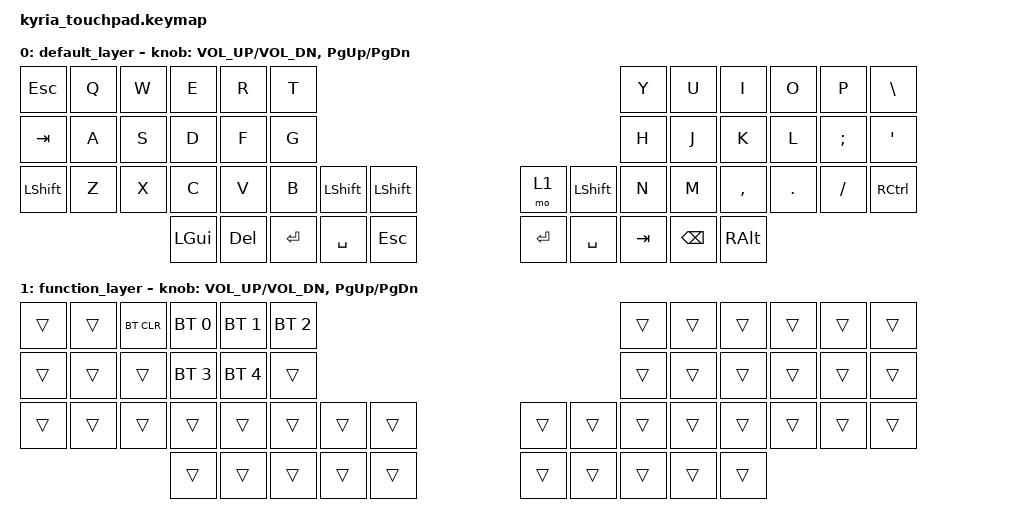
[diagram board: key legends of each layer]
/*
 * Copyright (c) 2025 ZMK Contributors
 * SPDX-License-Identifier: MIT
 */

#include <behaviors.dtsi>
#include <dt-bindings/zmk/bt.h>
#include <dt-bindings/zmk/keys.h>
#include <dt-bindings/zmk/mouse.h>

/ {
    keymap {
        compatible = "zmk,keymap";

        default_layer {
            // Include your existing keymap here
            bindings = <
            &kp ESC   &kp Q &kp W &kp E &kp R &kp T                                                  &kp Y &kp U  &kp I     &kp O   &kp P    &kp BSLH
            &kp TAB   &kp A &kp S &kp D &kp F &kp G                                                  &kp H &kp J  &kp K     &kp L   &kp SEMI &kp SQT
            &kp LSHFT &kp Z &kp X &kp C &kp V &kp B &kp LSHFT &kp LSHFT            &mo 1   &kp LSHFT &kp N &kp M  &kp COMMA &kp DOT &kp FSLH &kp RCTRL
                                  &kp LGUI &kp DEL &kp RET &kp SPACE &kp ESC       &kp RET &kp SPACE &kp TAB &kp BSPC &kp RALT
            >;

            sensor-bindings = <&inc_dec_kp C_VOL_UP C_VOL_DN &inc_dec_kp PG_UP PG_DN>;
        };
        
        function_layer {
            // Include your existing function layer here
            bindings = <
            &trans &trans &bt BT_CLR &bt BT_SEL 0 &bt BT_SEL 1 &bt BT_SEL 2              &trans &trans &trans &trans &trans &trans
            &trans &trans &trans     &bt BT_SEL 3 &bt BT_SEL 4 &trans                    &trans &trans &trans &trans &trans &trans
            &trans &trans &trans &trans &trans &trans &trans &trans        &trans &trans &trans &trans &trans &trans &trans &trans
                                 &trans &trans &trans &trans &trans        &trans &trans &trans &trans &trans
            >;

            sensor-bindings = <&inc_dec_kp C_VOL_UP C_VOL_DN &inc_dec_kp PG_UP PG_DN>;
        };
    };
};
